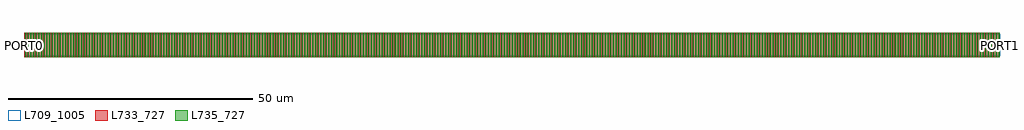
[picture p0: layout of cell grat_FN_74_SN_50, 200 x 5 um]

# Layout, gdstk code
import gdstk
lib = gdstk.Library(unit=1e-6, precision=1e-09)
def R(c, l, rs):  # rectangles x0, y0, x1, y1
    for r in rs: c.add(gdstk.rectangle(r[:2], r[2:], *l))
def A(c, l, x, y, w, h, nx, ny, dx, dy):  # array of equal rectangles
    R(c, l, [(x+i*dx, y+j*dy, x+i*dx+w, y+j*dy+h) for i in range(nx) for j in range(ny)])
L709_1005 = (709, 1005)
L733_727 = (733, 727)
L735_727 = (735, 727)

grat_fn_74_sn_50 = lib.new_cell('grat_FN_74_SN_50')
R(grat_fn_74_sn_50, L709_1005, [(0,-2.25,200,2.25)])
A(grat_fn_74_sn_50, L733_727, 0, -2.5, 0.403, 5, 367, 1, 0.545, 0)
A(grat_fn_74_sn_50, L735_727, 0.205, -2.5, 0.272, 5, 367, 1, 0.545, 0)
grat_fn_74_sn_50.add(gdstk.Label('PORT0', (0,0), layer=1001, texttype=3))
grat_fn_74_sn_50.add(gdstk.Label('PORT1', (200,0), layer=1001, texttype=3))
grat_fn_74_sn_50.add(gdstk.Label('sub!', (0,0), layer=1002, texttype=6))

lib.write_gds('grat_FN_74_SN_50.gds')
